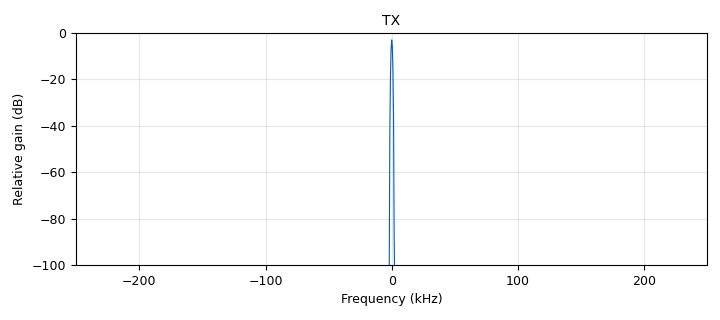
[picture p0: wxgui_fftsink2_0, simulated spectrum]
<?xml version='1.0' encoding='utf-8'?>
<?grc format='1' created='3.7.10'?>
<flow_graph>
<block>
<key>options</key>
<param><key>id</key><value>top_block</value></param>
<param><key>category</key><value>Custom</value></param>
<param><key>generate_options</key><value>wx_gui</value></param>
</block>
<block>
<key>variable_slider</key>
<param><key>id</key><value>noise_ampl</value></param>
<param><key>converver</key><value>float_converter</value></param>
<param><key>value</key><value>0</value></param>
<param><key>grid_pos</key><value>1,1,1,1</value></param>
<param><key>label</key><value>noise_amp</value></param>
<param><key>max</key><value>0.1</value></param>
<param><key>min</key><value>0</value></param>
<param><key>num_steps</key><value>100</value></param>
<param><key>style</key><value>wx.SL_HORIZONTAL</value></param>
</block>
<block>
<key>variable</key>
<param><key>id</key><value>samp_rate</value></param>
<param><key>value</key><value>500000</value></param>
</block>
<block>
<key>variable_slider</key>
<param><key>id</key><value>tone1</value></param>
<param><key>converver</key><value>float_converter</value></param>
<param><key>value</key><value>50</value></param>
<param><key>grid_pos</key><value>0,0,1,1</value></param>
<param><key>label</key><value>tone1</value></param>
<param><key>max</key><value>500000</value></param>
<param><key>min</key><value>0</value></param>
<param><key>num_steps</key><value>100</value></param>
<param><key>style</key><value>wx.SL_HORIZONTAL</value></param>
</block>
<block>
<key>variable_slider</key>
<param><key>id</key><value>tone2</value></param>
<param><key>converver</key><value>float_converter</value></param>
<param><key>value</key><value>50</value></param>
<param><key>grid_pos</key><value>0,1,1,1</value></param>
<param><key>label</key><value>tone2</value></param>
<param><key>max</key><value>500000</value></param>
<param><key>min</key><value>0</value></param>
<param><key>num_steps</key><value>100</value></param>
<param><key>style</key><value>wx.SL_HORIZONTAL</value></param>
</block>
<block>
<key>variable_slider</key>
<param><key>id</key><value>tone_ampl</value></param>
<param><key>converver</key><value>float_converter</value></param>
<param><key>value</key><value>0.5</value></param>
<param><key>grid_pos</key><value>1,0,1,1</value></param>
<param><key>label</key><value>tone_ampl</value></param>
<param><key>max</key><value>5</value></param>
<param><key>min</key><value>0.1</value></param>
<param><key>num_steps</key><value>100</value></param>
<param><key>style</key><value>wx.SL_HORIZONTAL</value></param>
</block>
<block>
<key>variable_slider</key>
<param><key>id</key><value>txgain</value></param>
<param><key>converver</key><value>float_converter</value></param>
<param><key>value</key><value>45</value></param>
<param><key>grid_pos</key><value>2,1,1,1</value></param>
<param><key>label</key><value>txgain</value></param>
<param><key>max</key><value>60</value></param>
<param><key>min</key><value>35</value></param>
<param><key>num_steps</key><value>100</value></param>
<param><key>style</key><value>wx.SL_HORIZONTAL</value></param>
</block>
<block>
<key>analog_noise_source_x</key>
<param><key>id</key><value>analog_noise_source_x_0</value></param>
<param><key>amp</key><value>noise_ampl</value></param>
<param><key>noise_type</key><value>analog.GR_GAUSSIAN</value></param>
<param><key>type</key><value>complex</value></param>
<param><key>seed</key><value>-42</value></param>
</block>
<block>
<key>analog_sig_source_x</key>
<param><key>id</key><value>analog_sig_source_x_0</value></param>
<param><key>amp</key><value>tone_ampl</value></param>
<param><key>freq</key><value>tone1</value></param>
<param><key>offset</key><value>0</value></param>
<param><key>type</key><value>complex</value></param>
<param><key>samp_rate</key><value>samp_rate</value></param>
<param><key>waveform</key><value>analog.GR_COS_WAVE</value></param>
</block>
<block>
<key>analog_sig_source_x</key>
<param><key>id</key><value>analog_sig_source_x_1</value></param>
<param><key>amp</key><value>tone_ampl</value></param>
<param><key>freq</key><value>tone2</value></param>
<param><key>offset</key><value>0</value></param>
<param><key>type</key><value>complex</value></param>
<param><key>samp_rate</key><value>samp_rate</value></param>
<param><key>waveform</key><value>analog.GR_COS_WAVE</value></param>
</block>
<block>
<key>blocks_add_xx</key>
<param><key>id</key><value>blocks_add_xx_0</value></param>
<param><key>type</key><value>complex</value></param>
<param><key>num_inputs</key><value>3</value></param>
</block>
<block>
<key>uhd_usrp_sink</key>
<param><key>id</key><value>uhd_usrp_sink_0</value></param>
<param><key>ant0</key><value>TX/RX</value></param>
<param><key>bw0</key><value>samp_rate/2</value></param>
<param><key>center_freq0</key><value>2.4e9</value></param>
<param><key>norm_gain0</key><value>False</value></param>
<param><key>gain0</key><value>txgain</value></param>
<param><key>clock_rate</key><value>0.0</value></param>
<param><key>dev_args</key><value>""</value></param>
<param><key>type</key><value>fc32</value></param>
<param><key>samp_rate</key><value>samp_rate</value></param>
<param><key>hide_cmd_port</key><value>False</value></param>
<param><key>sync</key><value></value></param>
<param><key>len_tag_name</key><value></value></param>
</block>
<block>
<key>uhd_usrp_source</key>
<param><key>id</key><value>uhd_usrp_source_0</value></param>
<param><key>ant0</key><value>TX/RX</value></param>
<param><key>bw0</key><value>samp_rate/2</value></param>
<param><key>center_freq0</key><value>2.4e9</value></param>
<param><key>dc_offs_enb0</key><value>""</value></param>
<param><key>iq_imbal_enb0</key><value>""</value></param>
<param><key>norm_gain0</key><value>False</value></param>
<param><key>gain0</key><value>txgain</value></param>
<param><key>clock_rate</key><value>0.0</value></param>
<param><key>dev_args</key><value>""</value></param>
<param><key>type</key><value>fc32</value></param>
<param><key>samp_rate</key><value>samp_rate</value></param>
<param><key>hide_cmd_port</key><value>False</value></param>
<param><key>sync</key><value></value></param>
</block>
<block>
<key>wxgui_fftsink2</key>
<param><key>id</key><value>wxgui_fftsink2_0</value></param>
<param><key>avg_alpha</key><value>0</value></param>
<param><key>average</key><value>False</value></param>
<param><key>baseband_freq</key><value>0</value></param>
<param><key>fft_size</key><value>1024</value></param>
<param><key>freqvar</key><value>None</value></param>
<param><key>peak_hold</key><value>False</value></param>
<param><key>ref_level</key><value>0</value></param>
<param><key>ref_scale</key><value>2.0</value></param>
<param><key>fft_rate</key><value>15</value></param>
<param><key>samp_rate</key><value>samp_rate</value></param>
<param><key>title</key><value>TX</value></param>
<param><key>type</key><value>complex</value></param>
<param><key>win</key><value>None</value></param>
<param><key>y_divs</key><value>10</value></param>
<param><key>y_per_div</key><value>10</value></param>
</block>
<block>
<key>wxgui_fftsink2</key>
<param><key>id</key><value>wxgui_fftsink2_1</value></param>
<param><key>avg_alpha</key><value>0</value></param>
<param><key>average</key><value>False</value></param>
<param><key>baseband_freq</key><value>0</value></param>
<param><key>fft_size</key><value>1024</value></param>
<param><key>freqvar</key><value>None</value></param>
<param><key>peak_hold</key><value>False</value></param>
<param><key>ref_level</key><value>0</value></param>
<param><key>ref_scale</key><value>2.0</value></param>
<param><key>fft_rate</key><value>15</value></param>
<param><key>samp_rate</key><value>samp_rate</value></param>
<param><key>title</key><value>RX</value></param>
<param><key>type</key><value>complex</value></param>
<param><key>win</key><value>None</value></param>
<param><key>y_divs</key><value>10</value></param>
<param><key>y_per_div</key><value>10</value></param>
</block>
<connection><source_block_id>analog_noise_source_x_0</source_block_id><sink_block_id>blocks_add_xx_0</sink_block_id><source_key>0</source_key><sink_key>2</sink_key></connection>
<connection><source_block_id>analog_sig_source_x_0</source_block_id><sink_block_id>blocks_add_xx_0</sink_block_id><source_key>0</source_key><sink_key>0</sink_key></connection>
<connection><source_block_id>analog_sig_source_x_1</source_block_id><sink_block_id>blocks_add_xx_0</sink_block_id><source_key>0</source_key><sink_key>1</sink_key></connection>
<connection><source_block_id>blocks_add_xx_0</source_block_id><sink_block_id>uhd_usrp_sink_0</sink_block_id><source_key>0</source_key><sink_key>0</sink_key></connection>
<connection><source_block_id>blocks_add_xx_0</source_block_id><sink_block_id>wxgui_fftsink2_0</sink_block_id><source_key>0</source_key><sink_key>0</sink_key></connection>
<connection><source_block_id>uhd_usrp_source_0</source_block_id><sink_block_id>wxgui_fftsink2_1</sink_block_id><source_key>0</source_key><sink_key>0</sink_key></connection>
</flow_graph>
